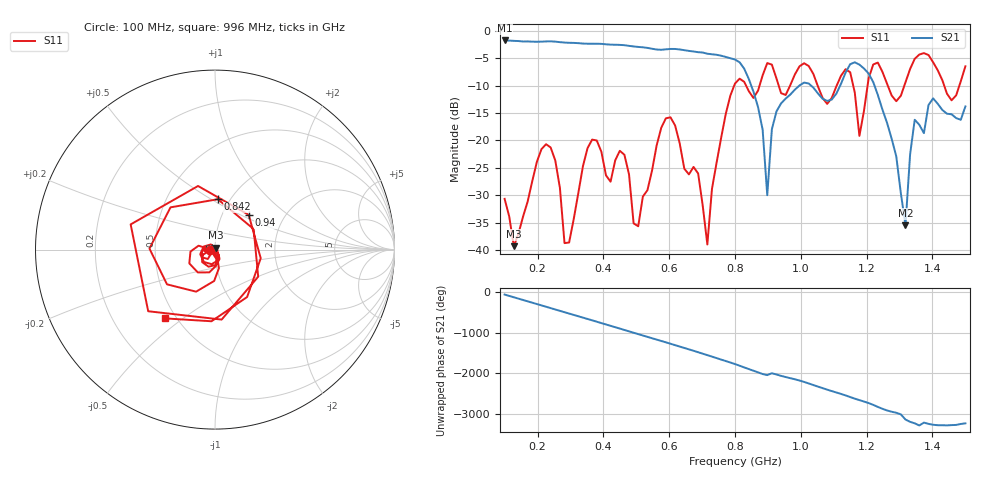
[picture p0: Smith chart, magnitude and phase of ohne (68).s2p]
! NanoVNA-App
! Date: 2025-09-26 09:55:55
! Start: 100MHz Stop: 1,5GHz Points: 101
! S-Parameter data: F S11 S21 S12 S22
# Hz S RI R 50
!  Frequency  S11_Real  S11_Imag  S21_Real  S21_Imag  S12_Real  S12_Imag  S22_Real  S22_Imag
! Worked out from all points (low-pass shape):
!   101 points, 100 MHz to 1.5 GHz, reference 50 ohm
!   highest |S21| = -1.79 dB at 100 MHz (marker M1); lowest = -35.4 dB at 1.318 GHz (marker M2)
!   |S21| within 3 dB of the highest: start of sweep to 771.7 MHz
!   lowest |S11| = -39.2 dB at 128 MHz (marker M3), VSWR 1.02, Z = 50.3 + j1.06 ohm
!   |S11| at or under -10 dB: start of sweep to 797.6 MHz; 833.6 MHz to 874.7 MHz (41.1 MHz wide, 4.81 % of centre); 1.051 GHz to 1.109 GHz (57.95 MHz wide, 5.37 % of centre)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
!   S12 and S22 are empty: the file has one direction only
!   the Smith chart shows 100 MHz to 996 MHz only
!   S11 on the Smith chart (normalised r, x): 100 MHz: 0.94, -0.01; 842 MHz: 0.88, +0.54; 940 MHz: 1.33, +0.56; 996 MHz: 0.44, -0.43
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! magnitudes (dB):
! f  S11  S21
! 100 MHz  -30.6  -1.8
! 128 MHz  -39.2  -1.9
! 212 MHz  -21.6  -2.0
! 282 MHz  -38.7  -2.2
! 338 MHz  -24.7  -2.4
! 464 MHz  -22.6  -2.6
! 506 MHz  -35.6  -3.0
! 576 MHz  -17.7  -3.5
! 716 MHz  -38.9  -4.2
! 800 MHz  -9.6  -5.3
! 842 MHz  -11.0  -8.8
! 898 MHz  -5.9  -30.0
! 940 MHz  -11.4  -13.2
! 996 MHz  -6.5  -10.0
! 1.038 GHz  -7.9  -10.4
! 1.15 GHz  -7.6  -6.1
! 1.178 GHz  -19.2  -6.2
! 1.22 GHz  -6.2  -9.4
! 1.276 GHz  -11.8  -19.7
! 1.318 GHz  -9.4  -35.4
! 1.346 GHz  -5.1  -16.2
! 1.5 GHz  -6.5  -13.8
